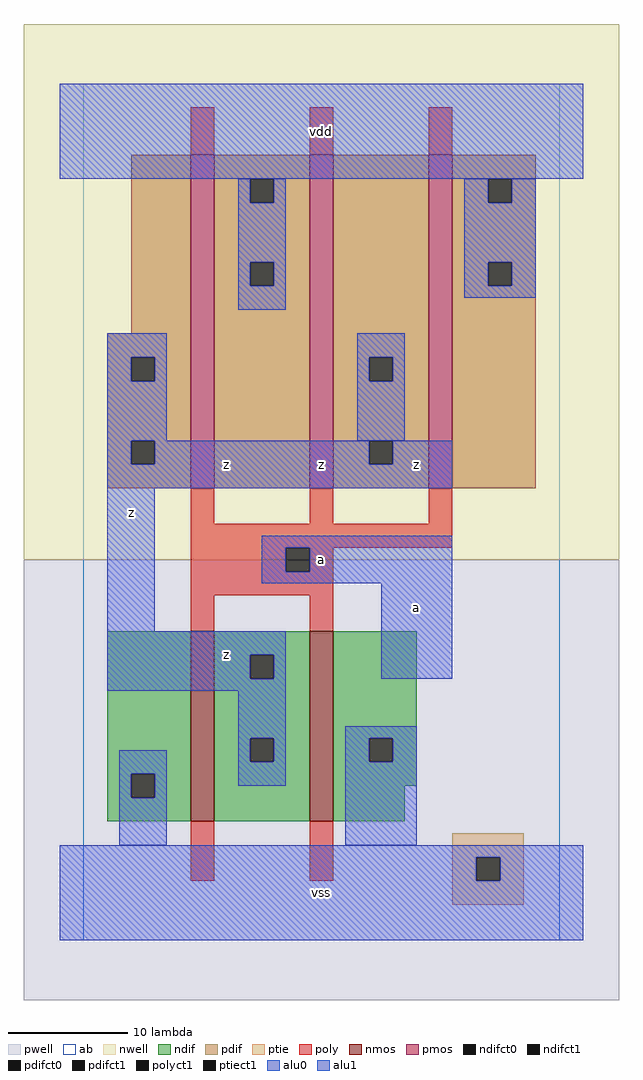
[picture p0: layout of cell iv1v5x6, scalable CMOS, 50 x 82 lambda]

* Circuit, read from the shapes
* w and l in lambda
.subckt iv1v5x6 a vdd vss z
M1 z a vss vss nfet w=16 l=2 m=2
M2 vdd a z n1 pfet w=28 l=2 m=3
.ends

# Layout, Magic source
magic
tech scmos
<< ab >>
rect 0 0 40 72
<< nwell >>
rect -5 32 45 77
<< pwell >>
rect -5 -5 45 32
<< poly >>
rect 9 66 11 70
rect 19 66 21 70
rect 29 66 31 70
rect 9 35 11 38
rect 19 35 21 38
rect 29 35 31 38
rect 9 33 31 35
rect 9 31 17 33
rect 19 31 21 33
rect 9 29 21 31
rect 9 26 11 29
rect 19 26 21 29
rect 9 5 11 10
rect 19 5 21 10
<< ndif >>
rect 2 14 9 26
rect 2 12 4 14
rect 6 12 9 14
rect 2 10 9 12
rect 11 24 19 26
rect 11 22 14 24
rect 16 22 19 24
rect 11 17 19 22
rect 11 15 14 17
rect 16 15 19 17
rect 11 10 19 15
rect 21 17 28 26
rect 21 15 24 17
rect 26 15 28 17
rect 21 13 28 15
rect 21 10 27 13
<< pdif >>
rect 4 51 9 66
rect 2 49 9 51
rect 2 47 4 49
rect 6 47 9 49
rect 2 42 9 47
rect 2 40 4 42
rect 6 40 9 42
rect 2 38 9 40
rect 11 64 19 66
rect 11 62 14 64
rect 16 62 19 64
rect 11 57 19 62
rect 11 55 14 57
rect 16 55 19 57
rect 11 38 19 55
rect 21 49 29 66
rect 21 47 24 49
rect 26 47 29 49
rect 21 42 29 47
rect 21 40 24 42
rect 26 40 29 42
rect 21 38 29 40
rect 31 64 38 66
rect 31 62 34 64
rect 36 62 38 64
rect 31 57 38 62
rect 31 55 34 57
rect 36 55 38 57
rect 31 38 38 55
<< alu1 >>
rect -2 64 42 72
rect 2 49 7 51
rect 2 47 4 49
rect 6 47 7 49
rect 2 42 7 47
rect 2 40 4 42
rect 6 40 24 42
rect 26 40 31 42
rect 2 38 31 40
rect 2 26 6 38
rect 15 33 31 34
rect 15 31 17 33
rect 19 31 31 33
rect 15 30 31 31
rect 2 24 17 26
rect 2 22 14 24
rect 16 22 17 24
rect 25 22 31 30
rect 2 21 17 22
rect 13 17 17 21
rect 13 15 14 17
rect 16 15 17 17
rect 13 13 17 15
rect -2 7 42 8
rect -2 5 33 7
rect 35 5 42 7
rect -2 0 42 5
<< ptie >>
rect 31 7 37 9
rect 31 5 33 7
rect 35 5 37 7
rect 31 3 37 5
<< nmos >>
rect 9 10 11 26
rect 19 10 21 26
<< pmos >>
rect 9 38 11 66
rect 19 38 21 66
rect 29 38 31 66
<< polyct1 >>
rect 17 31 19 33
<< ndifct0 >>
rect 4 12 6 14
rect 24 15 26 17
<< ndifct1 >>
rect 14 22 16 24
rect 14 15 16 17
<< ptiect1 >>
rect 33 5 35 7
<< pdifct0 >>
rect 14 62 16 64
rect 14 55 16 57
rect 24 47 26 49
rect 34 62 36 64
rect 34 55 36 57
<< pdifct1 >>
rect 4 47 6 49
rect 4 40 6 42
rect 24 40 26 42
<< alu0 >>
rect 13 62 14 64
rect 16 62 17 64
rect 13 57 17 62
rect 13 55 14 57
rect 16 55 17 57
rect 13 53 17 55
rect 32 62 34 64
rect 36 62 38 64
rect 32 57 38 62
rect 32 55 34 57
rect 36 55 38 57
rect 32 54 38 55
rect 23 49 27 51
rect 23 47 24 49
rect 26 47 27 49
rect 23 42 27 47
rect 3 14 7 16
rect 3 12 4 14
rect 6 12 7 14
rect 22 17 28 18
rect 22 15 24 17
rect 26 15 28 17
rect 3 8 7 12
rect 22 8 28 15
<< labels >>
rlabel alu1 4 36 4 36 6 z
rlabel alu1 12 24 12 24 6 z
rlabel alu1 12 40 12 40 6 z
rlabel alu1 20 4 20 4 6 vss
rlabel alu1 20 32 20 32 6 a
rlabel alu1 28 28 28 28 6 a
rlabel alu1 28 40 28 40 6 z
rlabel alu1 20 40 20 40 6 z
rlabel alu1 20 68 20 68 6 vdd
<< end >>
